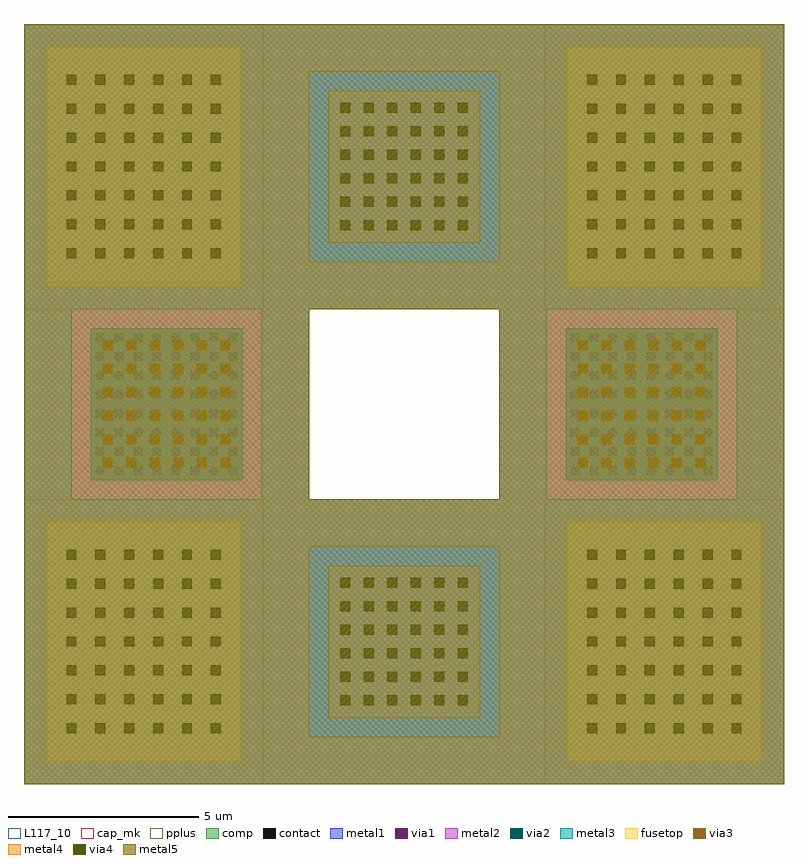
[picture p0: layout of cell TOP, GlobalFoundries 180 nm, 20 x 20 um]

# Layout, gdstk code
from math import pi, radians
import gdstk
lib = gdstk.Library(unit=1e-6, precision=1e-09)
def R(c, l, rs):  # rectangles x0, y0, x1, y1
    for r in rs: c.add(gdstk.rectangle(r[:2], r[2:], *l))
def A(c, l, x, y, w, h, nx, ny, dx, dy):  # array of equal rectangles
    R(c, l, [(x+i*dx, y+j*dy, x+i*dx+w, y+j*dy+h) for i in range(nx) for j in range(ny)])
def P(c, l, *ps):  # polygons
    for p in ps: c.add(gdstk.Polygon(p, *l))
comp = (22, 0)
pplus = (31, 0)
contact = (33, 0)
metal1 = (34, 0)
via1 = (35, 0)
metal2 = (36, 0)
via2 = (38, 0)
via3 = (40, 0)
via4 = (41, 0)
metal3 = (42, 0)
metal4 = (46, 0)
fusetop = (75, 0)
metal5 = (81, 0)
cap_mk = (117, 5)
L117_10 = (117, 10)

via_dev = lib.new_cell('via_dev')
A(via_dev, via3, 0.32, 0.32, 0.26, 0.26, 6, 6, 0.62, 0.62)
A(via_dev, via4, 0.32, 0.32, 0.26, 0.26, 6, 6, 0.62, 0.62)
R(via_dev, metal3, [(0,0,4,4)])
R(via_dev, metal4, [(0,0,4,4)])
R(via_dev, metal5, [(0,0,4,4)])

via_dev_4 = lib.new_cell('via_dev$4')
R(via_dev_4, metal2, [(0,0,4,4)])
A(via_dev_4, via2, 0.32, 0.32, 0.26, 0.26, 6, 6, 0.62, 0.62)
A(via_dev_4, via3, 0.32, 0.32, 0.26, 0.26, 6, 6, 0.62, 0.62)
R(via_dev_4, metal3, [(0,0,4,4)])
R(via_dev_4, metal4, [(0,0,4,4)])

via_dev_5 = lib.new_cell('via_dev$5')
A(via_dev_5, via3, 0.32, 0.32, 0.26, 0.26, 6, 6, 0.62, 0.62)
A(via_dev_5, via4, 0.32, 0.32, 0.26, 0.26, 6, 6, 0.62, 0.62)
R(via_dev_5, metal3, [(0,0,4,4)])
R(via_dev_5, metal4, [(0,0,4,4)])
R(via_dev_5, metal5, [(0,0,4,4)])

via_dev_3 = lib.new_cell('via_dev$3')
R(via_dev_3, comp, [(0,0,4,4)])
A(via_dev_3, contact, 0.14, 0.14, 0.22, 0.22, 8, 8, 0.5, 0.5)
R(via_dev_3, metal1, [(0,0,4,4)])
A(via_dev_3, via1, 0.32, 0.32, 0.26, 0.26, 6, 6, 0.62, 0.62)
R(via_dev_3, metal2, [(0,0,4,4)])

via_dev_6 = lib.new_cell('via_dev$6')
R(via_dev_6, metal2, [(0,0,4,4)])
A(via_dev_6, via2, 0.32, 0.32, 0.26, 0.26, 6, 6, 0.62, 0.62)
A(via_dev_6, via3, 0.32, 0.32, 0.26, 0.26, 6, 6, 0.62, 0.62)
R(via_dev_6, metal3, [(0,0,4,4)])
R(via_dev_6, metal4, [(0,0,4,4)])

via_dev_8 = lib.new_cell('via_dev$8')
R(via_dev_8, comp, [(0,0,4,4)])
A(via_dev_8, contact, 0.14, 0.14, 0.22, 0.22, 8, 8, 0.5, 0.5)
R(via_dev_8, metal1, [(0,0,4,4)])
A(via_dev_8, via1, 0.32, 0.32, 0.26, 0.26, 6, 6, 0.62, 0.62)
R(via_dev_8, metal2, [(0,0,4,4)])

cap_mim_5_10x6_30 = lib.new_cell('cap_mim_5.10x6.30')
A(cap_mim_5_10x6_30, via4, 0.52, 0.74, 0.26, 0.26, 6, 7, 0.76, 0.76)
R(cap_mim_5_10x6_30, metal4, [(-0.6,-0.6,5.7,6.9)])
R(cap_mim_5_10x6_30, fusetop, [(0,0,5.1,6.3)])
R(cap_mim_5_10x6_30, metal5, [(0,0,5.1,6.3)])
R(cap_mim_5_10x6_30, cap_mk, [(-0.6,-0.6,5.7,6.9)])
R(cap_mim_5_10x6_30, L117_10, [(0,0,5.1,0.1)])

top = lib.new_cell('TOP')
P(top, pplus, [(-10,-10),(-10,2.5),(-2.5,2.5),(-2.5,-2.5),(2.5,-2.5),(2.5,2.5),(-10,2.5),(-10,10),(10,10),(10,-10)])
P(top, metal1, [(-10,-10),(-10,2.5),(-2.5,2.5),(-2.5,-2.5),(2.5,-2.5),(2.5,2.5),(-10,2.5),(-10,10),(10,10),(10,-10)])
P(top, metal2, [(-10,-10),(-10,2.5),(-2.5,2.5),(-2.5,-2.5),(2.5,-2.5),(2.5,2.5),(-10,2.5),(-10,10),(10,10),(10,-10)])
P(top, metal3, [(-10,-10),(-10,2.5),(-8.75,2.5),(-8.75,-2.5),(-3.75,-2.5),(-3.75,2.5),(-2.5,2.5),(-2.5,-2.5),(2.5,-2.5),(2.5,2.5),(3.75,2.5),(3.75,-2.5),(8.75,-2.5),(8.75,2.5),(-10,2.5),(-10,10),(10,10),(10,-10)])
P(top, metal4, [(-10,-10),(-10,-3.75),(-2.5,-3.75),(-2.5,-8.75),(2.5,-8.75),(2.5,-3.75),(-10,-3.75),(-10,2.5),(-2.5,2.5),(-2.5,-2.5),(2.5,-2.5),(2.5,2.5),(-10,2.5),(-10,8.75),(-2.5,8.75),(-2.5,3.75),(2.5,3.75),(2.5,8.75),(-10,8.75),(-10,10),(10,10),(10,-10)])
P(top, metal5, [(-10,-10),(-10,2.5),(-2.5,2.5),(-2.5,-2.5),(2.5,-2.5),(2.5,2.5),(-10,2.5),(-10,10),(10,10),(10,-10)],
  [(-10,-10),(-10,2.5),(-2.5,2.5),(-2.5,-2.5),(2.5,-2.5),(2.5,2.5),(-10,2.5),(-10,10),(10,10),(10,-10)])
top.add(gdstk.Reference(via_dev, (-2,-4.25), rotation=3*pi/2))
top.add(gdstk.Reference(via_dev_4, (-8.25,-2)))
top.add(gdstk.Reference(via_dev_5, (2,4.25), rotation=pi/2))
top.add(gdstk.Reference(via_dev_3, (-8.25,-2)))
top.add(gdstk.Reference(via_dev_6, (8.25,2), rotation=pi))
top.add(gdstk.Reference(via_dev_8, (8.25,2), rotation=pi))
top.add(gdstk.Reference(cap_mim_5_10x6_30, (-9.4,-9.4)))
top.add(gdstk.Reference(cap_mim_5_10x6_30, (-9.4,3.1)))
top.add(gdstk.Reference(cap_mim_5_10x6_30, (4.3,-9.4)))
top.add(gdstk.Reference(cap_mim_5_10x6_30, (4.3,3.1)))

lib.write_gds('TOP.gds')
